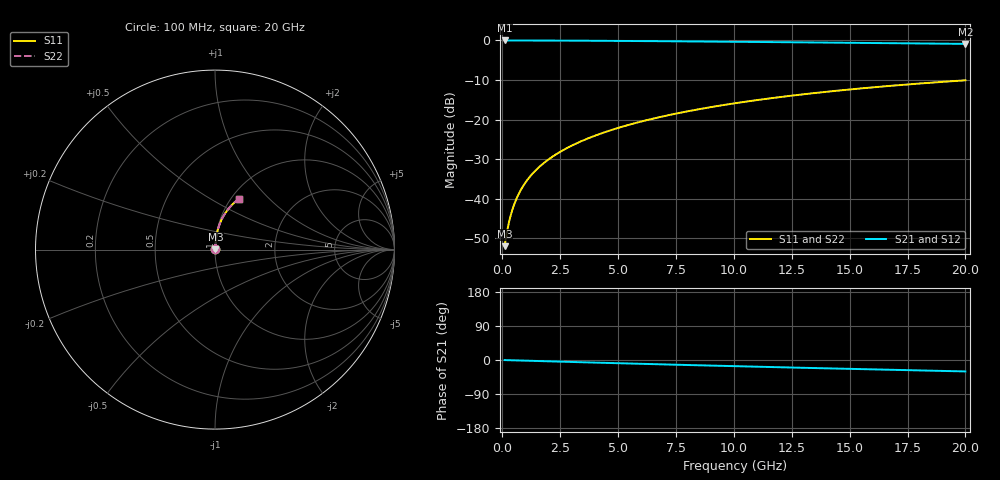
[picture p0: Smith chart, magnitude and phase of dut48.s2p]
! Touchstone file exported from HFSS 2024.1.0
!  File:  C:/UserFiles/LocalFiles/RDL_TSV_Batchsim/temp_RDL_bottom_48_1778692873.aedt
!  Generated:  01:23:47 AM May 14, 2026
!  Design:  RDL_bottom
!  Project:  temp_RDL_bottom_48_1778692873
!  Setup:  Setup1
!  Solution:  Sweep
! Variables:
!  dtsv = 10.80580581um
!  hbump = 3um
!  htsv = 65.89um
!  ldown = 411.23um
!  lrdl = 100um
!  p = 40
!  p1 = 46.72um
!  rhole = 1um
!  t = 450um
!  tdown = 4.68um
!  trdl = 3.915915916um
!  wdown = 17.75um
!  wrdl = 20um
# GHz S MA R 50.000000
! Terminal data exported
! Port[1] = RDL1_T1
! Port[2] = RDL1_T2
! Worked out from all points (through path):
!   200 points, 100 MHz to 20 GHz, reference 50 ohm
!   highest |S21| = -0.02 dB at 100 MHz (marker M1); lowest = -0.9 dB at 20 GHz (marker M2)
!   group delay of S21, straight-line fit = 4.16 ps
!   lowest |S11| = -52.0 dB at 100 MHz (marker M3), VSWR 1.01, Z = 50.2 + j0.166 ohm
!   |S11| at or under -10 dB: start of sweep to end of sweep
!   |S22| runs from -52.0 to -10.1 dB; largest |S21 - S12| = 2.7e-15
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0.1  0.002512 41.3  0.9981 -0.2  0.9981 -0.2  0.002512 41.3
! Gamma 0 0 0 0
! Port Impedance 50 0 50 0
0.2  0.003773 60.5  0.998 -0.4  0.998 -0.4  0.003774 60.5
0.3  0.005218 69.3  0.9979 -0.5  0.9979 -0.5  0.00522 69.3
0.4  0.006724 74.0  0.9978 -0.7  0.9978 -0.7  0.006725 74.0
0.5  0.008254 76.8  0.9977 -0.9  0.9977 -0.9  0.008256 76.8
0.6  0.009797 78.6  0.9976 -1.1  0.9976 -1.1  0.009799 78.6
0.8  0.01289 80.9  0.9974 -1.4  0.9974 -1.4  0.0129 80.9
1.1  0.01754 82.5  0.997 -1.9  0.997 -1.9  0.01754 82.5
1.5  0.0237 83.6  0.9964 -2.6  0.9964 -2.6  0.02371 83.6
1.8  0.02832 84.0  0.9959 -3.1  0.9959 -3.1  0.02832 84.0
2.1  0.03293 84.3  0.9952 -3.7  0.9952 -3.7  0.03293 84.3
2.7  0.04218 84.5  0.9937 -4.7  0.9937 -4.7  0.04218 84.5
3.5  0.05461 84.5  0.9912 -6.0  0.9912 -6.0  0.05462 84.5
4.2  0.06561 84.2  0.9886 -7.2  0.9886 -7.2  0.06562 84.2
5  0.07832 83.7  0.9854 -8.5  0.9854 -8.5  0.07832 83.8
5.9  0.09277 83.1  0.9814 -10.0  0.9814 -10.0  0.09278 83.1
6.8  0.1074 82.2  0.9772 -11.4  0.9772 -11.4  0.1074 82.2
8.4  0.1336 80.5  0.9692 -13.9  0.9692 -13.9  0.1336 80.5
10.1  0.1614 78.4  0.9603 -16.4  0.9603 -16.4  0.1615 78.4
13.4  0.2147 73.9  0.9421 -21.2  0.9421 -21.2  0.2148 73.9
16.7  0.2656 69.3  0.9231 -25.7  0.9231 -25.7  0.2657 69.3
20  0.3132 64.7  0.9033 -30.1  0.9033 -30.1  0.3132 64.7
